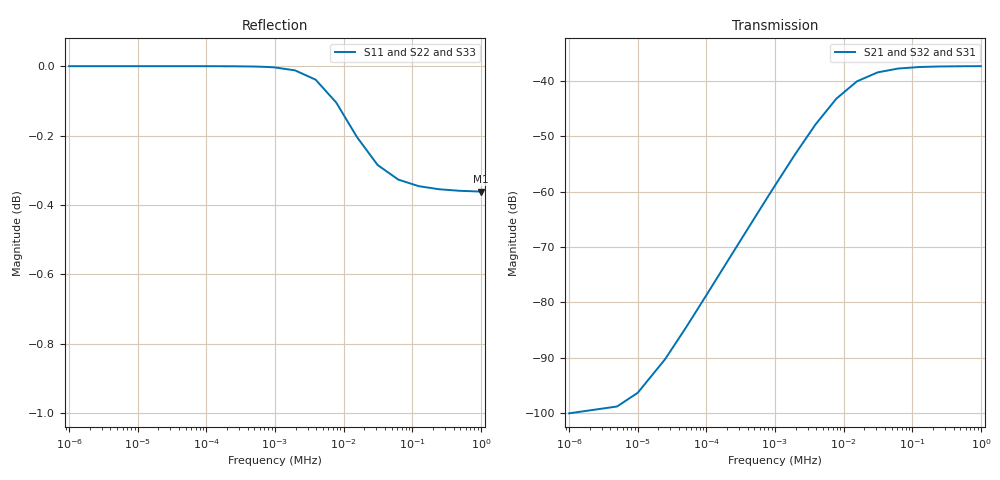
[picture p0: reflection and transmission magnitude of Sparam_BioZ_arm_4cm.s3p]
# GHz S MA R 50
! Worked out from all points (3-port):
!   21 points, 1 Hz to 1 MHz, reference 50 ohm
!   strongest paths, dB at 1 Hz, 75 Hz, 976.6 Hz, 31.25 kHz, 1 MHz:
!     S21: -100.0, -81.2, -59.1, -38.5, -37.3
!     S32: -100.0, -81.2, -59.1, -38.6, -37.4
!     S31: -100.0, -81.2, -59.1, -38.8, -37.4
!   lowest |S11| = -0.4 dB at 1 MHz (marker M1), VSWR 48.06, Z = 2.4e+03 - j41.3 ohm
!   |S11| at or under -10 dB: nowhere
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1e-09  1 -0.0  9.976e-06 6.7  9.975e-06 6.7
       9.976e-06 6.7  1 -0.0  9.976e-06 6.7
       9.975e-06 6.7  9.976e-06 6.7  1 -0.0
7.5e-08  1 -0.0  8.754e-05 82.6  8.753e-05 82.6
         8.754e-05 82.6  1 -0.0  8.754e-05 82.6
         8.753e-05 82.6  8.754e-05 82.6  1 -0.0
1e-07  1 -0.0  0.0001163 84.0  0.0001163 84.0
       0.0001163 84.0  1 -0.0  0.0001163 84.0
       0.0001163 84.0  0.0001163 84.0  1 -0.0
1.95313e-06  0.9986 -0.4  0.002164 77.6  0.002159 77.1
             0.002164 77.6  0.9986 -0.4  0.002162 77.4
             0.002159 77.1  0.002162 77.4  0.9986 -0.4
3.90625e-06  0.9955 -0.6  0.004055 68.5  0.004026 67.6
             0.004055 68.5  0.9956 -0.6  0.004042 68.1
             0.004026 67.6  0.004042 68.1  0.9956 -0.6
7.8125e-06  0.988 -1.0  0.006899 54.2  0.006776 53.0
            0.006899 54.2  0.988 -1.0  0.006845 53.7
            0.006776 53.0  0.006845 53.7  0.988 -1.0
1.5625e-05  0.9768 -1.0  0.009904 37.1  0.009589 36.0
            0.009904 37.1  0.9766 -1.0  0.009767 36.7
            0.009589 36.0  0.009767 36.7  0.9766 -1.0
3.125e-05  0.9677 -0.8  0.01194 22.3  0.01146 21.8
           0.01194 22.3  0.9673 -0.8  0.01173 22.1
           0.01146 21.8  0.01173 22.1  0.9673 -0.8
6.25e-05  0.9631 -0.5  0.01293 12.3  0.01242 12.4
          0.01293 12.3  0.9625 -0.5  0.01271 12.3
          0.01242 12.4  0.01271 12.3  0.9625 -0.5
0.001  0.9592 -0.0  0.01358 0.8  0.01344 1.0
       0.01358 0.8  0.9591 -0.0  0.01352 0.9
       0.01344 1.0  0.01352 0.9  0.9591 -0.0
